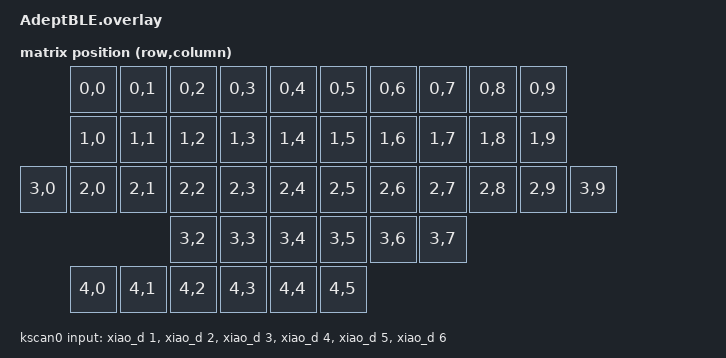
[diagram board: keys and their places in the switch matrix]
/*
 * AdeptBLE — xiao_ble peripheral
 * pmw3610 trackball via SPI + 6 physical buttons
 * Forwards trackball data to dongle central via BLE split (reg = <2>)
 */

#include <dt-bindings/zmk/matrix_transform.h>
#include <physical_layouts.dtsi>
#include <zephyr/dt-bindings/input/input-event-codes.h>
#include <input/processors/xyz.dtsi>
#include <input/processors/report_rate_limit.dtsi>
#include <behaviors/input_gestures_accel.dtsi>
#include <dt-bindings/zmk/input_transform.h>

/ {
    chosen {
        zmk,kscan = &kscan0;
        zmk,physical-layout = &physical_layout0;
    };

    kscan0: kscan {
        compatible = "zmk,kscan-gpio-direct";
        wakeup-source;
        input-gpios
            = <&xiao_d 1 (GPIO_ACTIVE_LOW | GPIO_PULL_UP)>
            , <&xiao_d 2 (GPIO_ACTIVE_LOW | GPIO_PULL_UP)>
            , <&xiao_d 3 (GPIO_ACTIVE_LOW | GPIO_PULL_UP)>
            , <&xiao_d 4 (GPIO_ACTIVE_LOW | GPIO_PULL_UP)>
            , <&xiao_d 5 (GPIO_ACTIVE_LOW | GPIO_PULL_UP)>
            , <&xiao_d 6 (GPIO_ACTIVE_LOW | GPIO_PULL_UP)>
            ;
    };

    /*
     * Full 44-position transform so this peripheral's keymap aligns with
     * the central's keymap. row-offset = 4 maps the 6 physical buttons to
     * global positions 38-43 (row 4, cols 0-5).
     */
    default_transform: keymap_transform_0 {
        compatible = "zmk,matrix-transform";
        rows = <5>;
        columns = <10>;
        row-offset = <4>;
        map = <
            RC(0,0) RC(0,1) RC(0,2) RC(0,3) RC(0,4)    RC(0,5) RC(0,6) RC(0,7) RC(0,8) RC(0,9)
            RC(1,0) RC(1,1) RC(1,2) RC(1,3) RC(1,4)    RC(1,5) RC(1,6) RC(1,7) RC(1,8) RC(1,9)
    RC(3,0) RC(2,0) RC(2,1) RC(2,2) RC(2,3) RC(2,4)    RC(2,5) RC(2,6) RC(2,7) RC(2,8) RC(2,9) RC(3,9)
                            RC(3,2) RC(3,3) RC(3,4)    RC(3,5) RC(3,6) RC(3,7)
            RC(4,0) RC(4,1) RC(4,2) RC(4,3) RC(4,4) RC(4,5)
        >;
    };

    physical_layout0: physical_layout_0 {
        compatible = "zmk,physical-layout";
        display-name = "Default Layout";
        transform = <&default_transform>;
        kscan = <&kscan0>;
        keys  //                     w   h    x    y     rot    rx    ry
            = <&key_physical_attrs  50 100    0    0       0     0     0>
            , <&key_physical_attrs  50  50   50    0       0     0     0>
            , <&key_physical_attrs  50  50  100    0       0     0     0>
            , <&key_physical_attrs  50 100  150    0       0     0     0>
            , <&key_physical_attrs  75 100    0  100       0     0     0>
            , <&key_physical_attrs  75 100  125  100       0     0     0>
            ;
    };
};

/* Pointer acceleration — must come before input-split node */
&pointer_accel {
    input-type = <INPUT_EV_REL>;
    min-factor = <600>;
    max-factor = <3000>;
    speed-threshold = <900>;
    speed-max = <1800>;
    acceleration-exponent = <1>;
    track-remainders;
};

/* Rate-limit: only apply on BLE (not USB) */
&zip_report_rate_limit {
    limit-ble-only;
};

/*
 * Split sender: process raw events then forward compressed data to central.
 * Pipeline: accel → rate-limit → xyz compressor
 */
/ {
    split_inputs {
        #address-cells = <1>;
        #size-cells = <0>;

        trackball_peripheral: trackball@2 {
            compatible = "zmk,input-split";
            reg = <2>;
            device = <&trackball>;
            input-processors =
                <&pointer_accel>,
                <&zip_report_rate_limit 8>,
                <&zip_xyz>;
        };
    };
};

/* Disable fast-charge hog (battery safety on xiao_ble) */
&gpio0 {
    fastbatcharge: fast-battery-charge {
        gpio-hog;
        gpios = <13 GPIO_ACTIVE_HIGH>;
        output-low;
        line-name = "Fast Battery Charge";
    };
};

&pinctrl {
    spi0_default: spi0_default {
        group1 {
            psels = <NRF_PSEL(SPIM_SCK, 1, 13)>,
                    <NRF_PSEL(SPIM_MOSI, 1, 14)>,
                    <NRF_PSEL(SPIM_MISO, 1, 14)>;
        };
    };

    spi0_sleep: spi0_sleep {
        group1 {
            psels = <NRF_PSEL(SPIM_SCK, 1, 13)>,
                    <NRF_PSEL(SPIM_MOSI, 1, 14)>,
                    <NRF_PSEL(SPIM_MISO, 1, 14)>;
            low-power-enable;
        };
    };
};

&uart0 {
    status = "disabled";
};

&xiao_serial {
    status = "disabled";
};

&spi0 {
    status = "okay";
    compatible = "nordic,nrf-spim";
    pinctrl-0 = <&spi0_default>;
    pinctrl-1 = <&spi0_sleep>;
    pinctrl-names = "default", "sleep";
    cs-gpios = <&xiao_d 7 GPIO_ACTIVE_LOW>;

    trackball: trackball@0 {
        status = "okay";
        compatible = "pixart,pmw3610-efogtech";
        reg = <0>;
        spi-max-frequency = <2000000>;
        irq-gpios = <&xiao_d 10 (GPIO_ACTIVE_LOW | GPIO_PULL_UP)>;
        cpi = <600>;
        evt-type = <INPUT_EV_REL>;
        x-input-code = <INPUT_REL_X>;
        y-input-code = <INPUT_REL_Y>;
        force-high-performance;
    };
};
